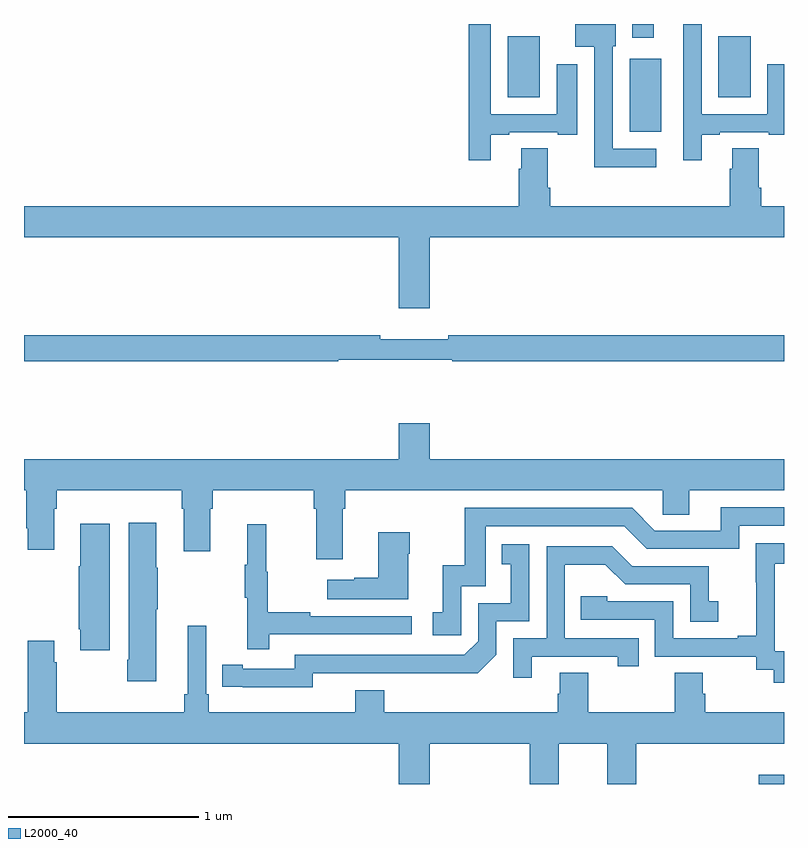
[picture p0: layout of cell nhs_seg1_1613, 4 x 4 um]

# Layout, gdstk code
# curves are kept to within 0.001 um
import gdstk
lib = gdstk.Library(unit=1e-6, precision=1e-09)
def R(c, l, rs):  # rectangles x0, y0, x1, y1
    for r in rs: c.add(gdstk.rectangle(r[:2], r[2:], *l))
def P(c, l, *ps):  # polygons
    for p in ps: c.add(gdstk.Polygon(p, *l))
L2000_40 = (2000, 40)

nhs_seg1_1613 = lib.new_cell('nhs_seg1_1613')
R(nhs_seg1_1613, L2000_40, [(202.868,538.199,203,538.249), (202.187,541.631,202.354,542.017), (201.545,541.814,201.715,542.134), (202.655,541.814,202.825,542.134), (202.202,542.127,202.315,542.199)])
P(nhs_seg1_1613, L2000_40, [(201.457,541.617),(201.553,541.617),(201.553,541.629),(201.809,541.629),(201.809,541.617),(201.913,541.617),(201.913,541.987),(201.803,541.987),(201.803,541.725),(201.456,541.725),(201.456,542.199),(201.34,542.199),(201.34,541.482),(201.457,541.482)],
  [(202.567,541.617),(202.663,541.617),(202.663,541.629),(202.919,541.629),(202.919,541.617),(203,541.617),(203,541.987),(202.913,541.987),(202.913,541.725),(202.566,541.725),(202.566,542.199),(202.47,542.199),(202.47,541.482),(202.567,541.482)],
  [(202.327,541.542),(202.098,541.542),(202.098,542.082),(202.114,542.082),(202.114,542.199),(201.902,542.199),(201.902,542.078),(202.002,542.078),(202.002,541.445),(202.327,541.445)],
  [(201.136,541.076),(203,541.076),(203,541.24),(202.88,541.24),(202.88,541.336),(202.867,541.336),(202.867,541.544),(202.727,541.544),(202.727,541.436),(202.715,541.436),(202.715,541.24),(201.77,541.24),(201.77,541.336),(201.757,541.336),(201.757,541.544),(201.617,541.544),(201.617,541.436),(201.605,541.436),(201.605,541.24),(199,541.24),(199,541.076),(200.972,541.076),(200.972,540.702),(201.136,540.702)],
  [(200.655,540.432),(201.255,540.432),(201.255,540.424),(203,540.424),(203,540.56),(201.232,540.56),(201.232,540.541),(200.876,540.541),(200.876,540.56),(199,540.56),(199,540.424),(200.655,540.424)],
  [(200.677,539.648),(200.69,539.648),(200.69,539.744),(202.362,539.744),(202.362,539.617),(202.501,539.617),(202.501,539.744),(203,539.744),(203,539.908),(201.136,539.908),(201.136,540.097),(200.972,540.097),(200.972,539.908),(199,539.908),(199,539.744),(199.012,539.744),(199.012,539.545),(199.019,539.545),(199.019,539.433),(199.159,539.433),(199.159,539.648),(199.172,539.648),(199.172,539.744),(199.829,539.744),(199.829,539.648),(199.841,539.648),(199.841,539.424),(199.981,539.424),(199.981,539.648),(199.994,539.648),(199.994,539.744),(200.525,539.744),(200.525,539.648),(200.537,539.648),(200.537,539.382),(200.677,539.382)],
  [(201.3,539.241),(201.429,539.241),(201.429,539.556),(202.158,539.556),(202.278,539.436),(202.764,539.436),(202.764,539.559),(203,539.559),(203,539.655),(202.667,539.655),(202.667,539.532),(202.32,539.532),(202.2,539.652),(201.321,539.652),(201.321,539.35),(201.203,539.35),(201.203,539.103),(201.15,539.103),(201.15,538.983),(201.3,538.983)],
  [(199.696,539.119),(199.704,539.119),(199.704,539.336),(199.696,539.336),(199.696,539.575),(199.55,539.575),(199.55,538.852),(199.543,538.852),(199.543,538.74),(199.696,538.74)],
  [(199.45,539.569),(199.295,539.569),(199.295,539.345),(199.288,539.345),(199.288,539.014),(199.295,539.014),(199.295,538.902),(199.45,538.902)],
  [(200.291,538.986),(201.04,538.986),(201.04,539.082),(200.507,539.082),(200.507,539.102),(200.284,539.102),(200.284,539.316),(200.276,539.316),(200.276,539.566),(200.174,539.566),(200.174,539.353),(200.163,539.353),(200.163,539.179),(200.174,539.179),(200.174,538.908),(200.291,538.908)],
  [(201.022,539.411),(201.03,539.411),(201.03,539.524),(200.864,539.524),(200.864,539.285),(200.738,539.285),(200.738,539.275),(200.595,539.275),(200.595,539.171),(201.022,539.171)],
  [(203,538.899),(202.95,538.899),(202.95,539.129),(202.952,539.129),(202.952,539.357),(203,539.357),(203,539.467),(202.852,539.467),(202.852,539.261),(202.853,539.261),(202.853,538.978),(202.757,538.978),(202.757,538.965),(202.416,538.965),(202.416,539.16),(202.071,539.16),(202.071,539.187),(201.931,539.187),(201.931,539.064),(202.32,539.064),(202.32,538.869),(202.854,538.869),(202.854,538.801),(202.947,538.801),(202.947,538.731),(203,538.731)],
  [(200.52,538.782),(201.388,538.781),(201.486,538.878),(201.486,539.055),(201.66,539.055),(201.66,539.461),(201.514,539.461),(201.514,539.355),(201.563,539.355),(201.563,539.151),(201.39,539.151),(201.39,538.95),(201.318,538.878),(200.424,538.878),(200.424,538.806),(200.152,538.806),(200.152,538.826),(200.044,538.826),(200.044,538.71),(200.52,538.709)],
  [(201.673,538.869),(202.124,538.869),(202.124,538.818),(202.235,538.818),(202.235,538.965),(201.846,538.965),(201.846,539.354),(202.06,539.354),(202.164,539.25),(202.506,539.25),(202.506,539.052),(202.654,539.052),(202.654,539.161),(202.605,539.161),(202.605,539.346),(202.201,539.346),(202.096,539.451),(201.75,539.451),(201.75,538.965),(201.576,538.965),(201.576,538.758),(201.673,538.758)],
  [(201.136,538.412),(201.662,538.412),(201.662,538.199),(201.814,538.199),(201.814,538.412),(202.07,538.412),(202.07,538.199),(202.223,538.199),(202.223,538.412),(203,538.412),(203,538.576),(202.586,538.576),(202.586,538.674),(202.573,538.674),(202.573,538.784),(202.426,538.784),(202.426,538.576),(201.969,538.576),(201.969,538.784),(201.821,538.784),(201.821,538.674),(201.809,538.674),(201.809,538.576),(200.897,538.576),(200.897,538.693),(200.744,538.693),(200.744,538.576),(199.973,538.576),(199.973,538.672),(199.959,538.672),(199.959,539.032),(199.862,539.032),(199.862,538.672),(199.843,538.672),(199.843,538.576),(199.172,538.576),(199.172,538.841),(199.159,538.841),(199.159,538.954),(199.019,538.954),(199.019,538.576),(199,538.576),(199,538.412),(200.972,538.412),(200.972,538.199),(201.136,538.199)])

lib.write_gds('nhs_seg1_1613.gds')
